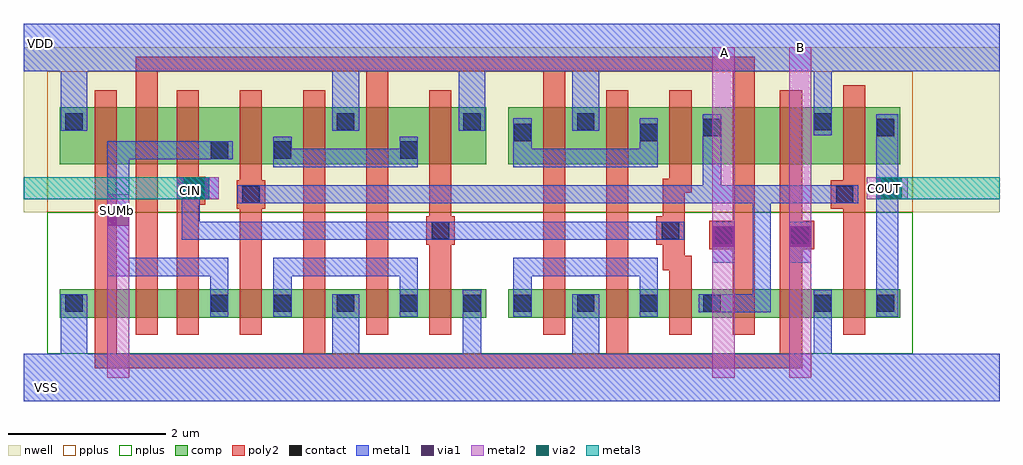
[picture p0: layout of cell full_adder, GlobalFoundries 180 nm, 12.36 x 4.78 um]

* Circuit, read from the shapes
.subckt full_adder A B CIN COUT SUMb VDD VSS
XM1 n1 B VSS VSUBS nfet_03v3 w=0.36u l=0.28u
XM2 n2 A n1 VSUBS nfet_03v3 w=0.36u l=0.28u
XM3 SUMb CIN n2 VSUBS nfet_03v3 w=0.36u l=0.28u
XM4 n3 n4 SUMb VSUBS nfet_03v3 w=0.36u l=0.28u
XM5 VSS B n3 VSUBS nfet_03v3 w=0.36u l=0.28u
XM6 n3 A VSS VSUBS nfet_03v3 w=0.36u l=0.28u
XM7 VSS CIN n3 VSUBS nfet_03v3 w=0.36u l=0.28u
XM8 VSS A n5 VSUBS nfet_03v3 w=0.36u l=0.28u
XM9 n5 B VSS VSUBS nfet_03v3 w=0.36u l=0.28u
XM10 n4 CIN n5 VSUBS nfet_03v3 w=0.36u l=0.28u
XM11 n6 A n4 VSUBS nfet_03v3 w=0.36u l=0.28u
XM12 VSS B n6 VSUBS nfet_03v3 w=0.36u l=0.28u
XM13 COUT n4 VSS VSUBS nfet_03v3 w=0.36u l=0.28u
XM14 n7 B VDD n8 pfet_03v3 w=0.72u l=0.28u
XM15 n9 A n7 n8 pfet_03v3 w=0.72u l=0.28u
XM16 SUMb CIN n9 n8 pfet_03v3 w=0.72u l=0.28u
XM17 n10 n4 SUMb n8 pfet_03v3 w=0.72u l=0.28u
XM18 VDD B n10 n8 pfet_03v3 w=0.72u l=0.28u
XM19 n10 A VDD n8 pfet_03v3 w=0.72u l=0.28u
XM20 VDD CIN n10 n8 pfet_03v3 w=0.72u l=0.28u
XM21 VDD A n11 n8 pfet_03v3 w=0.72u l=0.28u
XM22 n11 B VDD n8 pfet_03v3 w=0.72u l=0.28u
XM23 n4 CIN n11 n8 pfet_03v3 w=0.72u l=0.28u
XM24 n12 A n4 n8 pfet_03v3 w=0.72u l=0.28u
XM25 VDD B n12 n8 pfet_03v3 w=0.72u l=0.28u
XM26 COUT n4 VDD n8 pfet_03v3 w=0.72u l=0.28u
.ends

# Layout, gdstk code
import gdstk
lib = gdstk.Library(unit=1e-6, precision=5e-09)
def R(c, l, rs):  # rectangles x0, y0, x1, y1
    for r in rs: c.add(gdstk.rectangle(r[:2], r[2:], *l))
def A(c, l, x, y, w, h, nx, ny, dx, dy):  # array of equal rectangles
    R(c, l, [(x+i*dx, y+j*dy, x+i*dx+w, y+j*dy+h) for i in range(nx) for j in range(ny)])
nwell = (21, 0)
comp = (22, 0)
poly2 = (30, 0)
pplus = (31, 0)
nplus = (32, 0)
contact = (33, 0)
metal1 = (34, 0)
via1 = (35, 0)
metal2 = (36, 0)
via2 = (38, 0)
metal3 = (42, 0)

full_adder = lib.new_cell('full_adder')
R(full_adder, nwell, [(-6.525,-0.35,5.835,1.74)])
R(full_adder, comp, [(-6.065,-1.68,-0.665,-1.32), (-0.385,-1.68,4.575,-1.32), (-6.065,0.26,-0.665,0.98), (-0.385,0.26,4.575,0.98)])
R(full_adder, poly2, [(-5.625,-2.32,3.335,-2.14), (-5.625,-2.14,-5.345,1.2), (-2.985,-2.14,-2.705,1.2), (0.855,-2.14,1.135,1.2), (3.055,-2.14,3.335,1.2), (-5.105,-1.9,-4.825,1.44), (-4.585,-1.9,-4.305,1.2), (-3.785,-1.9,-3.505,1.2), (-2.185,-1.9,-1.905,1.44), (-1.385,-1.9,-1.105,1.2), (0.055,-1.9,0.335,1.44), (1.655,-1.9,1.935,-1.08), (2.455,-1.9,2.735,1.44), (3.855,-1.9,4.135,1.26), (1.57,-1.08,1.935,-0.9), (1.57,-0.9,1.85,-0.1), (2.16,-0.815,2.52,-0.455), (3.13,-0.815,3.49,-0.455), (-1.425,-0.76,-1.065,-0.4), (1.49,-0.76,1.85,-0.4), (-3.825,-0.3,-3.465,0.06), (3.695,-0.3,4.055,0.06), (-4.585,-0.255,-4.225,0.105), (1.57,-0.1,1.935,0.08), (1.655,0.08,1.935,1.2), (-5.105,1.44,2.735,1.62)])
R(full_adder, pplus, [(-6.225,-0.35,4.735,1.44)])
R(full_adder, nplus, [(-6.225,-2.14,4.735,-0.35)])
A(full_adder, contact, -4.155, -1.61, 0.22, 0.22, 5, 1, 0.8, 0)
A(full_adder, contact, -0.315, -1.61, 0.22, 0.22, 4, 1, 0.8, 0)
R(full_adder, contact, [(-5.995,-1.61,-5.775,-1.39), (3.485,-1.61,3.705,-1.39), (4.285,-1.61,4.505,-1.39), (2.23,-0.745,2.45,-0.525), (3.2,-0.745,3.42,-0.525), (-1.355,-0.69,-1.135,-0.47), (1.56,-0.69,1.78,-0.47), (-3.755,-0.23,-3.535,-0.01), (3.765,-0.23,3.985,-0.01), (-4.515,-0.18,-4.295,0.04), (-4.155,0.33,-3.935,0.55), (-3.355,0.33,-3.135,0.55), (-1.755,0.33,-1.535,0.55), (-0.315,0.555,-0.095,0.775), (1.285,0.555,1.505,0.775), (2.085,0.615,2.305,0.835), (4.285,0.615,4.505,0.835), (-5.995,0.69,-5.775,0.91), (-2.555,0.69,-2.335,0.91), (-0.955,0.69,-0.735,0.91), (0.485,0.69,0.705,0.91), (3.485,0.69,3.705,0.91)])
R(full_adder, metal1, [(-6.525,-2.74,5.835,-2.14), (-6.055,-2.14,-5.715,-1.385), (-2.615,-2.14,-2.275,-1.385), (-0.96,-2.14,-0.73,-1.33), (0.425,-2.14,0.765,-1.385), (3.48,-2.14,3.71,-1.33), (-4.16,-1.67,-3.93,-0.925), (-3.36,-1.67,-3.13,-0.925), (-1.76,-1.67,-1.53,-0.925), (-0.32,-1.67,-0.09,-0.925), (1.28,-1.67,1.51,-0.925), (4.275,-1.67,4.555,0.895), (2.025,-1.615,2.94,-1.385), (2.71,-1.385,2.94,-0.235), (-5.465,-1.155,-4.16,-0.925), (-3.13,-1.155,-1.76,-0.925), (-0.09,-1.155,1.28,-0.925), (2.2,-0.985,2.48,-0.465), (3.17,-0.985,3.45,-0.465), (-5.465,-0.925,-5.185,0.325), (-4.52,-0.695,1.84,-0.465), (-4.52,-0.465,-4.29,0.095), (-3.815,-0.235,4.045,-0.005), (-4.575,-0.185,-4.055,0.095), (2.08,-0.005,2.31,0.895), (-3.36,0.225,-3.13,0.61), (-3.13,0.225,-1.76,0.455), (-1.76,0.225,-1.53,0.61), (-0.32,0.225,-0.09,0.845), (-0.09,0.225,1.28,0.455), (1.28,0.225,1.51,0.845), (-5.465,0.325,-3.875,0.555), (3.48,0.63,3.71,1.44), (-6.055,0.685,-5.715,1.44), (-2.615,0.685,-2.275,1.44), (-1.015,0.685,-0.675,1.44), (0.425,0.685,0.765,1.44), (-6.525,1.44,5.835,2.04)])
R(full_adder, via1, [(2.21,-0.785,2.47,-0.525), (3.18,-0.785,3.44,-0.525), (-5.455,-0.52,-5.195,-0.26), (-4.445,-0.175,-4.185,0.085), (4.285,-0.175,4.545,0.085)])
R(full_adder, metal2, [(-5.465,-2.44,-5.185,-0.12), (2.2,-2.44,2.48,1.74), (3.17,-2.44,3.45,1.74), (-4.575,-0.185,-4.055,0.095), (4.155,-0.185,4.675,0.095)])
R(full_adder, via2, [(-4.495,-0.175,-4.235,0.085), (4.335,-0.175,4.595,0.085)])
R(full_adder, metal3, [(-6.525,-0.185,-4.175,0.095), (4.275,-0.185,5.835,0.095)])
full_adder.add(gdstk.Label('A', (2.35,1.68), layer=36, texttype=10))
full_adder.add(gdstk.Label('B', (3.31,1.74), layer=36, texttype=10))
full_adder.add(gdstk.Label('COUT', (4.38,-0.045), layer=34, texttype=10))
full_adder.add(gdstk.Label('CIN', (-4.405,-0.07), layer=34, texttype=10))
full_adder.add(gdstk.Label('VDD', (-6.305,1.79), layer=34, texttype=10))
full_adder.add(gdstk.Label('VSS', (-6.23,-2.56), layer=34, texttype=10))
full_adder.add(gdstk.Label('SUMb', (-5.33,-0.33), layer=34, texttype=10))

lib.write_gds('full_adder.gds')
